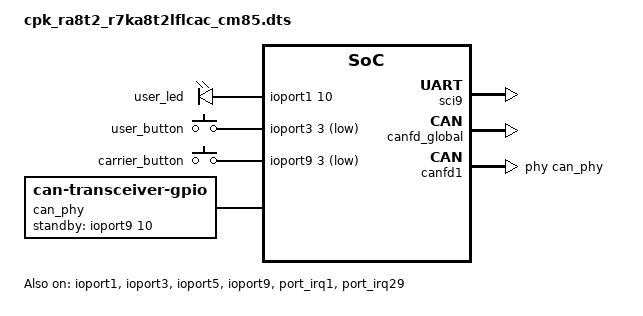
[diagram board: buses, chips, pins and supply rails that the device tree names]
/*
 * SPDX-FileCopyrightText: Copyright (c) 2026 Process Mission
 * SPDX-License-Identifier: Apache-2.0
 */

/dts-v1/;

#include <renesas/ra/ra8/r7ka8t2lflcac_cm85.dtsi>
#include <zephyr/dt-bindings/gpio/gpio.h>
#include <zephyr/dt-bindings/input/input-event-codes.h>
#include "cpk_ra8t2.dtsi"

/ {
	chosen {
		zephyr,sram = &sram0;
		zephyr,flash = &code_mram_cm85;
		zephyr,console = &uart9;
		zephyr,shell-uart = &uart9;
		zephyr,canbus = &canfd1;
	};

	aliases {
		led0 = &user_led;
		sw0 = &user_button;
		sw1 = &carrier_button;
	};

	leds {
		compatible = "gpio-leds";

		user_led: led-0 {
			gpios = <&ioport1 10 GPIO_ACTIVE_HIGH>;
		};
	};

	buttons {
		compatible = "gpio-keys";

		user_button: button-0 {
			gpios = <&ioport3 3 (GPIO_ACTIVE_LOW | GPIO_PULL_UP)>;
			zephyr,code = <INPUT_KEY_0>;
		};

		carrier_button: button-1 {
			gpios = <&ioport9 3 GPIO_ACTIVE_LOW>;
			zephyr,code = <INPUT_KEY_1>;
		};
	};

	can_phy: can-phy {
		compatible = "can-transceiver-gpio";
		/* TCAN1057AV-Q1 silent mode is active high. */
		standby-gpios = <&ioport9 10 GPIO_ACTIVE_HIGH>;
		max-bitrate = <5000000>;
		#phy-cells = <0>;
	};
};

&ioport1 {
	status = "okay";
};

&ioport3 {
	status = "okay";
};

&ioport5 {
	status = "okay";
};

&ioport9 {
	status = "okay";
};

&port_irq1 {
	interrupts = <5 1>;
	status = "okay";
};

&port_irq29 {
	interrupts = <4 1>;
	status = "okay";
};

&sci4 {
	pinctrl-0 = <&sci4_spi_default>;
	pinctrl-names = "default";
	interrupts = <13 1>, <14 1>, <15 1>, <16 1>;
	interrupt-names = "rxi", "txi", "tei", "eri";

	spi4: spi {
		cs-gpios = <&ioport5 15 GPIO_ACTIVE_LOW>;
	};
};

&sci9 {
	pinctrl-0 = <&sci9_default>;
	pinctrl-names = "default";
	interrupts = <0 1>, <1 1>, <2 1>, <3 1>;
	interrupt-names = "rxi", "txi", "tei", "eri";
	status = "okay";

	uart9: uart {
		current-speed = <115200>;
		status = "okay";
	};
};

&canfdclk {
	status = "okay";
};

&canfd_global {
	interrupts = <6 1>, <7 1>;
	interrupt-names = "rxf", "glerr";
	status = "okay";
};

&canfd1 {
	pinctrl-0 = <&canfd1_default>;
	pinctrl-names = "default";
	interrupts = <8 1>, <9 1>, <10 11>;
	interrupt-names = "err", "tx", "rx";
	phys = <&can_phy>;
	rx-max-filters = <16>;
	status = "okay";
};
